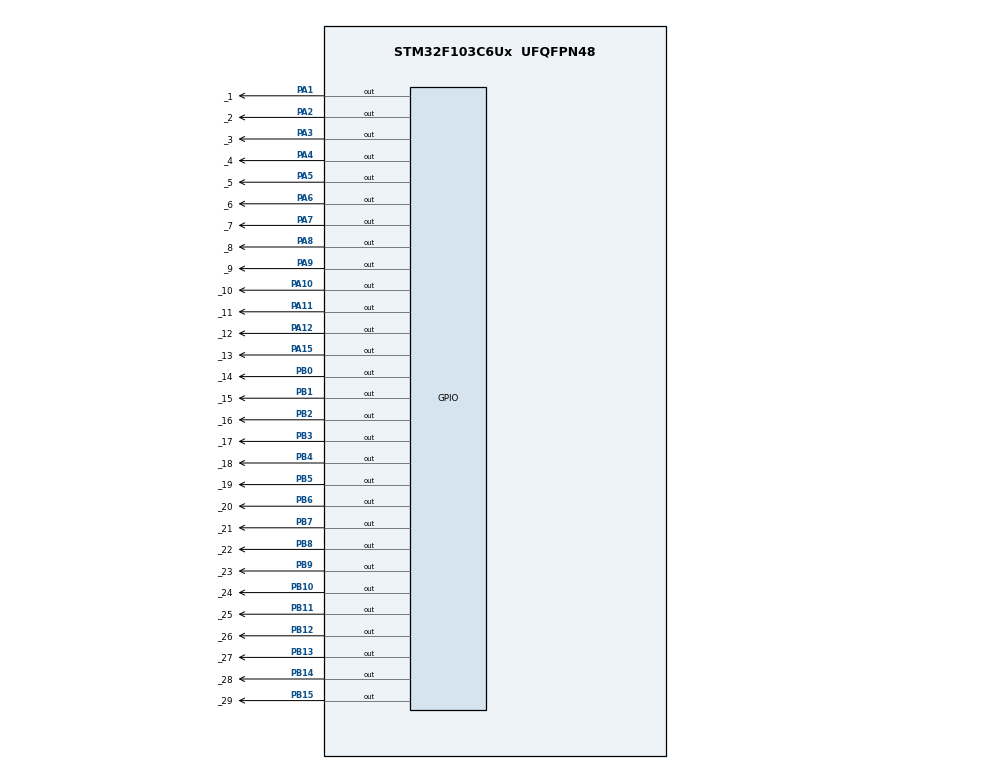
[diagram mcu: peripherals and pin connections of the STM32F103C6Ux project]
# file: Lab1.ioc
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Mcu.Family=STM32F1
Mcu.Name=STM32F103C6Ux
Mcu.Package=UFQFPN48
NVIC.PriorityGroup=NVIC_PRIORITYGROUP_4
PA1.GPIO_Label=_1
PA1.Signal=GPIO_Output
PA10.GPIO_Label=_10
PA10.Signal=GPIO_Output
PA11.GPIO_Label=_11
PA11.Signal=GPIO_Output
PA12.GPIO_Label=_12
PA12.Signal=GPIO_Output
PA13.Mode=Serial_Wire
PA13.Signal=SYS_JTMS-SWDIO
PA14.Mode=Serial_Wire
PA14.Signal=SYS_JTCK-SWCLK
PA15.GPIO_Label=_13
PA15.Signal=GPIO_Output
PA2.GPIO_Label=_2
PA2.Signal=GPIO_Output
PA3.GPIO_Label=_3
PA3.Signal=GPIO_Output
PA4.GPIO_Label=_4
PA4.Signal=GPIO_Output
PA5.GPIO_Label=_5
PA5.Signal=GPIO_Output
PA6.GPIO_Label=_6
PA6.Signal=GPIO_Output
PA7.GPIO_Label=_7
PA7.Signal=GPIO_Output
PA8.GPIO_Label=_8
PA8.Signal=GPIO_Output
PA9.GPIO_Label=_9
PA9.Signal=GPIO_Output
PB0.GPIO_Label=_14
PB0.Signal=GPIO_Output
PB1.GPIO_Label=_15
PB1.Signal=GPIO_Output
PB10.GPIO_Label=_24
PB10.Signal=GPIO_Output
PB11.GPIO_Label=_25
PB11.Signal=GPIO_Output
PB12.GPIO_Label=_26
PB12.Signal=GPIO_Output
PB13.GPIO_Label=_27
PB13.Signal=GPIO_Output
PB14.GPIO_Label=_28
PB14.Signal=GPIO_Output
PB15.GPIO_Label=_29
PB15.Signal=GPIO_Output
PB2.GPIO_Label=_16
PB2.Signal=GPIO_Output
PB3.GPIO_Label=_17
PB3.Signal=GPIO_Output
PB4.GPIO_Label=_18
PB4.Signal=GPIO_Output
PB5.GPIO_Label=_19
PB5.Signal=GPIO_Output
PB6.GPIO_Label=_20
PB6.Signal=GPIO_Output
PB7.GPIO_Label=_21
PB7.Signal=GPIO_Output
PB8.GPIO_Label=_22
PB8.Signal=GPIO_Output
PB9.GPIO_Label=_23
PB9.Signal=GPIO_Output
ProjectManager.HeapSize=0x200
ProjectManager.StackSize=0x400
ProjectManager.TargetToolchain=STM32CubeIDE
RCC.APB1Freq_Value=8000000
RCC.APB2Freq_Value=8000000
board=custom

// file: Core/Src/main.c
/* USER CODE BEGIN Header */
/**
  ******************************************************************************
  * @file           : main.c
  * @brief          : Main program body
  ******************************************************************************
  * @attention
  *
  * Copyright (c) 2025 STMicroelectronics.
  * All rights reserved.
  *
  * This software is licensed under terms that can be found in the LICENSE file
  * in the root directory of this software component.
  * If no LICENSE file comes with this software, it is provided AS-IS.
  *
  ******************************************************************************
  */
/* USER CODE END Header */
#include "main.h"
#include <stdbool.h>

void SystemClock_Config(void);
static void MX_GPIO_Init(void);

/* USER CODE BEGIN 0 */
typedef struct {
	GPIO_TypeDef *port;
	uint16_t pin;
} PINMAP;

const PINMAP pinMap[] = {
	//PA1 to PA12
	{_1_GPIO_Port, _1_Pin},   	// indexPin = 1
    {_2_GPIO_Port, _2_Pin},  	// indexPin = 2
    {_3_GPIO_Port, _3_Pin},  	// indexPin = 3
    {_4_GPIO_Port, _4_Pin},   	// indexPin = 4
    {_5_GPIO_Port, _5_Pin},   	// indexPin = 5
    {_6_GPIO_Port, _6_Pin},   	// indexPin = 6
    {_7_GPIO_Port, _7_Pin},   	// indexPin = 7
    {_8_GPIO_Port, _8_Pin},   	// indexPin = 8
    {_9_GPIO_Port, _9_Pin},   	// indexPin = 9
    {_10_GPIO_Port, _10_Pin},  	// indexPin = 10
    {_11_GPIO_Port, _11_Pin},  	// indexPin = 11
    {_12_GPIO_Port, _12_Pin},  	// indexPin = 12
	//PA13 to PA14 are reserved
	//PA15 for LED-SYS
	{_13_GPIO_Port, _13_Pin},  	// indexPin = 13
	//PB0 to PB15
    {_14_GPIO_Port, _14_Pin},  	// indexPin = 14
    {_15_GPIO_Port, _15_Pin},  	// indexPin = 15
    {_16_GPIO_Port, _16_Pin},  	// indexPin = 16
    {_17_GPIO_Port, _17_Pin},  	// indexPin = 17
    {_18_GPIO_Port, _18_Pin},  	// indexPin = 18
    {_19_GPIO_Port, _19_Pin},  	// indexPin = 19
    {_20_GPIO_Port, _20_Pin},  	// indexPin = 20
    {_21_GPIO_Port, _21_Pin},  	// indexPin = 21
    {_22_GPIO_Port, _22_Pin},  	// indexPin = 22
    {_23_GPIO_Port, _23_Pin},  	// indexPin = 23
    {_24_GPIO_Port, _24_Pin},  	// indexPin = 24
	{_25_GPIO_Port, _25_Pin},  	// indexPin = 25
    {_26_GPIO_Port, _26_Pin},  	// indexPin = 26
    {_27_GPIO_Port, _27_Pin},  	// indexPin = 27
	{_28_GPIO_Port, _27_Pin},  	// indexPin = 28
    {_29_GPIO_Port, _29_Pin},  	// indexPin = 29
};

const uint8_t segMapAnode[10] = {
	//abcdefg
	0b0000001, //0
	0b1001111, //1
	0b0010010, //2
	0b0000110, //3
	0b1001100, //4
	0b0100100, //5
	0b0100000, //6
	0b0001111, //7
	0b0000000, //8
	0b0000100  //9
};

void togglePin(int indexPin, bool state) {
	int idx = indexPin - 1;
	//safety check -> time_1_4 == time_2_5 + time_3_6
	if (idx < 0 || idx >= (sizeof(pinMap) / sizeof(pinMap[0]))) {
		return;
	}
	HAL_GPIO_WritePin(pinMap[idx].port, pinMap[idx].pin, (state) ? GPIO_PIN_SET : GPIO_PIN_RESET);
}

void traffic3_1(int indexPin_1, int indexPin_2, int indexPin_3, int time_1, int time_2, int time_3, int state, int counter) {
	while (1)
	{
		switch (state) {
			case 0: // RED
			togglePin(indexPin_1, 1);
			togglePin(indexPin_2, 0);
			togglePin(indexPin_3, 0);
			break;

			case 1: // YELLOW
			togglePin(indexPin_1, 0);
			togglePin(indexPin_2, 1);
			togglePin(indexPin_3, 0);
			break;

			case 2: // GREEN
			togglePin(indexPin_1, 0);
			togglePin(indexPin_2, 0);
			togglePin(indexPin_3, 1);
			break;

			default: // safety fallback -> all OFF and reset
			togglePin(indexPin_1, 0);
			togglePin(indexPin_2, 0);
			togglePin(indexPin_3, 0);
			state = 0;
			counter = 0;
			break;
		}

		HAL_Delay(1000);
		counter++;

		if (state == 0 && counter >= time_1) {
			state = 1;
			counter = 0;
		} else if (state == 1 && counter >= time_2) {
			state = 2;
			counter = 0;
		} else if (state == 2 && counter >= time_3) {
			state = 0;
			counter = 0;
		}
	}
}

void toggle6Pin(int indexPin_1, int indexPin_2, int indexPin_3, int indexPin_4, int indexPin_5, int indexPin_6,
				bool state_1, bool state_2, bool state_3, bool state_4, bool state_5, bool state_6) {
	togglePin(indexPin_1, state_1);
	togglePin(indexPin_2, state_2);
	togglePin(indexPin_3, state_3);
	togglePin(indexPin_4, state_4);
	togglePin(indexPin_5, state_5);
	togglePin(indexPin_6, state_6);
}

void toggle7Pin(int indexPin_1, int indexPin_2, int indexPin_3, int indexPin_4, int indexPin_5, int indexPin_6, int indexPin_7,
				bool state_1, bool state_2, bool state_3, bool state_4, bool state_5, bool state_6, bool state_7) {
	togglePin(indexPin_1, state_1);
	togglePin(indexPin_2, state_2);
	togglePin(indexPin_3, state_3);
	togglePin(indexPin_4, state_4);
	togglePin(indexPin_5, state_5);
	togglePin(indexPin_6, state_6);
	togglePin(indexPin_7, state_7);
}

void traffic3_4(int indexPin_1, int indexPin_2, int indexPin_3, int indexPin_4, int indexPin_5, int indexPin_6,
				int time_1_4, int time_2_5, int time_3_6,
				int state, int counter) {
	//safety check -> time_1_4 == time_2_5 + time_3_6
	if (time_1_4 != time_2_5 + time_3_6) {
		return;
	}
	while (1)
	{
		switch (state)
		{
			case 0: // RED GREEN
			toggle6Pin(indexPin_1, indexPin_2, indexPin_3, indexPin_4, indexPin_5, indexPin_6, 1, 0, 0, 0, 0, 1);
			break;

			case 1: // RED YELLOW
			toggle6Pin(indexPin_1, indexPin_2, indexPin_3, indexPin_4, indexPin_5, indexPin_6, 1, 0, 0, 0, 1, 0);
			break;

			case 2: // GREEN RED
			toggle6Pin(indexPin_1, indexPin_2, indexPin_3, indexPin_4, indexPin_5, indexPin_6, 0, 0, 1, 1, 0, 0);
			break;

			case 3: // YELLOW RED
			toggle6Pin(indexPin_1, indexPin_2, indexPin_3, indexPin_4, indexPin_5, indexPin_6, 0, 1, 0, 1, 0, 0);
			break;

			default: // safety fallback -> all OFF and reset
			toggle6Pin(indexPin_1, indexPin_2, indexPin_3, indexPin_4, indexPin_5, indexPin_6, 0, 0, 0, 0, 0, 0);
			state = 0;
			counter = 0;
			break;
		}

		HAL_Delay(1000);
		counter++;

		if (state == 0 && counter >= time_3_6) {
			state = 1;
			counter = 0;
		} else if (state == 1 && counter >= time_2_5) {
			state = 2;
			counter = 0;
		} else if (state == 2 && counter >= time_1_4) {
			state = 3;
			counter = 0;
		} else if (state == 3 && counter >= time_2_5) {
			state = 0;
			counter = 0;
		}
	}
}

void seg7Anode_1(int indexPin_1, int indexPin_2, int indexPin_3, int indexPin_4, int indexPin_5, int indexPin_6, int indexPin_7,
				const uint8_t state[10], int num,
				int time) {
	toggle7Pin(indexPin_1, indexPin_2, indexPin_3, indexPin_4, indexPin_5, indexPin_6, indexPin_7, 1, 1, 1, 1, 1, 1, 1);
	togglePin(indexPin_1, state[num] & 0b1000000);
	togglePin(indexPin_2, state[num] & 0b0100000);
	togglePin(indexPin_3, state[num] & 0b0010000);
	togglePin(indexPin_4, state[num] & 0b0001000);
	togglePin(indexPin_5, state[num] & 0b0000100);
	togglePin(indexPin_6, state[num] & 0b0000010);
	togglePin(indexPin_7, state[num] & 0b0000001);
	//HAL_Delay(time*1000);
}

void seg7Anode_2(int indexPin_1, int indexPin_2, int indexPin_3, int indexPin_4, int indexPin_5, int indexPin_6, int indexPin_7,
				const uint8_t state[10], int num,
				int time) {
	toggle7Pin(indexPin_1, indexPin_2, indexPin_3, indexPin_4, indexPin_5, indexPin_6, indexPin_7, 1, 1, 1, 1, 1, 1, 1);
	togglePin(indexPin_1, state[num] & 0b1000000);
	togglePin(indexPin_2, state[num] & 0b0100000);
	togglePin(indexPin_3, state[num] & 0b0010000);
	togglePin(indexPin_4, state[num] & 0b0001000);
	togglePin(indexPin_5, state[num] & 0b0000100);
	togglePin(indexPin_6, state[num] & 0b0000010);
	togglePin(indexPin_7, state[num] & 0b0000001);
	//HAL_Delay(time*1000);
}

void display7SEG(int num) {
	//safety check -> 0 <= num <= 9
	if (num < 0 || num > 9) {
		return;
	}
	seg7Anode_1(14, 15, 16, 17, 18, 19, 20, segMapAnode, num, 1);
	HAL_Delay(1000);
}

void traffic3_7seg_4(int indexPin_1, int indexPin_2, int indexPin_3, int indexPin_4, int indexPin_5, int indexPin_6,
					int indexPin_7, int indexPin_8, int indexPin_9, int indexPin_10, int indexPin_11, int indexPin_12, int indexPin_13,
					int indexPin_14, int indexPin_15, int indexPin_16, int indexPin_17, int indexPin_18, int indexPin_19, int indexPin_20,
					int time_1_4, int time_2_5, int time_3_6,
					int state, int counter) {
	//safety check -> time_1_4 == time_2_5 + time_3_6
	if (time_1_4 != time_2_5 + time_3_6) {
		return;
	}
	bool led_sys = 0;
	while (1)
	{
		if (led_sys == 0) {
			togglePin(13, 1);
			led_sys = 1;
		} else {
			togglePin(13, 0);
			led_sys = 0;
		}
		switch (state)
		{
			case 0: // RED GREEN
			toggle6Pin(indexPin_1, indexPin_2, indexPin_3, indexPin_4, indexPin_5, indexPin_6, 1, 0, 0, 0, 0, 1);
			seg7Anode_1(indexPin_7, indexPin_8, indexPin_9, indexPin_10, indexPin_11, indexPin_12, indexPin_13, segMapAnode, time_1_4 - counter - 1, 1);
			seg7Anode_2(indexPin_14, indexPin_15, indexPin_16, indexPin_17, indexPin_18, indexPin_19, indexPin_20, segMapAnode, time_3_6 - counter - 1 , 1);
			break;

			case 1: // RED YELLOW
			toggle6Pin(indexPin_1, indexPin_2, indexPin_3, indexPin_4, indexPin_5, indexPin_6, 1, 0, 0, 0, 1, 0);
			seg7Anode_1(indexPin_7, indexPin_8, indexPin_9, indexPin_10, indexPin_11, indexPin_12, indexPin_13, segMapAnode, time_2_5 - counter - 1, 1);
			seg7Anode_2(indexPin_14, indexPin_15, indexPin_16, indexPin_17, indexPin_18, indexPin_19, indexPin_20, segMapAnode, time_2_5 - counter - 1, 1);
			break;

			case 2: // GREEN RED
			toggle6Pin(indexPin_1, indexPin_2, indexPin_3, indexPin_4, indexPin_5, indexPin_6, 0, 0, 1, 1, 0, 0);
			seg7Anode_1(indexPin_7, indexPin_8, indexPin_9, indexPin_10, indexPin_11, indexPin_12, indexPin_13, segMapAnode, time_3_6 - counter - 1, 1);
			seg7Anode_2(indexPin_14, indexPin_15, indexPin_16, indexPin_17, indexPin_18, indexPin_19, indexPin_20, segMapAnode, time_1_4 - counter - 1, 1);
			break;

			case 3: // YELLOW RED
			toggle6Pin(indexPin_1, indexPin_2, indexPin_3, indexPin_4, indexPin_5, indexPin_6, 0, 1, 0, 1, 0, 0);
			seg7Anode_1(indexPin_7, indexPin_8, indexPin_9, indexPin_10, indexPin_11, indexPin_12, indexPin_13, segMapAnode, time_2_5 - counter - 1, 1);
			seg7Anode_2(indexPin_14, indexPin_15, indexPin_16, indexPin_17, indexPin_18, indexPin_19, indexPin_20, segMapAnode, time_2_5 - counter - 1, 1);
			break;

			default: // safety fallback -> all OFF and reset
			toggle6Pin(indexPin_1, indexPin_2, indexPin_3, indexPin_4, indexPin_5, indexPin_6, 0, 0, 0, 0, 0, 0);
			seg7Anode_1(indexPin_7, indexPin_8, indexPin_9, indexPin_10, indexPin_11, indexPin_12, indexPin_13, segMapAnode, 0, 1);
			seg7Anode_2(indexPin_14, indexPin_15, indexPin_16, indexPin_17, indexPin_18, indexPin_19, indexPin_20, segMapAnode, 0, 1);
			state = 0;
			counter = 0;
			break;
		}

		HAL_Delay(1000);
		counter++;

		if (state == 0 && counter >= time_3_6) {
			state = 1;
			counter = 0;
		} else if (state == 1 && counter >= time_2_5) {
			state = 2;
			counter = 0;
		} else if (state == 2 && counter >= time_3_6) {
			state = 3;
			counter = 0;
		} else if (state == 3 && counter >= time_2_5) {
			state = 0;
			counter = 0;
		}
	}
}

void seqClk() {
	int pinMapClk[12] = {
		12, 1, 2, 3, 4, 5, 6, 7, 8, 9 ,10, 11
	};
	bool led_sys = 0;
	for (int i = 0; i <= 11; i++) {
		if (led_sys == 0) {
			togglePin(13, 1);
			led_sys = 1;
		} else {
			togglePin(13, 0);
			led_sys = 0;
		}
		for (int j = 0; j <= 11; j++) {
			togglePin(pinMapClk[j], 0);
		}
		togglePin(pinMapClk[i], 1);
		//Uncomment the line below to test clearAllClock() function
		//if (i == 6 || i == 2 || i == 10) clearAllClock();
		HAL_Delay(1000);
	}
}

void clearAllClock() {
	int pinMapClk[12] = {
		12, 1, 2, 3, 4, 5, 6, 7, 8, 9 ,10, 11
	};
	for (int i = 0; i <= 11; i++) {
		togglePin(pinMapClk[i], 0);
	}
}

void setNumberOnClock(int num) {
	int pinMapClk[12] = {
		12, 1, 2, 3, 4, 5, 6, 7, 8, 9 ,10, 11
	};
	togglePin(pinMapClk[num], 1);
}

void clearNumberOnClock(int num) {
	int pinMapClk[12] = {
		12, 1, 2, 3, 4, 5, 6, 7, 8, 9 ,10, 11
	};
	togglePin(pinMapClk[num], 0);
}

void runClk(int speedFactor, int time) {
    int sec = 0;
    int min = 0;
    int hour = 0;
	bool led_sys = 0;

    while (1) {
		led_sys = !led_sys;
		togglePin(13, led_sys);

		clearAllClock();

		setNumberOnClock(sec / 5);
		setNumberOnClock(min / 5);
		setNumberOnClock(hour % 12);

		HAL_Delay(time*1000);
		sec += speedFactor;

		while (sec >= 60) {
			sec -= 60;
			min++;
			if (min >= 60) {
				min = 0;
				hour++;
				if (hour >= 12) {
					hour = 0;
				}
			}
		}
	}
}

/* USER CODE END 0 */

int main(void)
{

  /* MCU Configuration--------------------------------------------------------*/

  /* Reset of all peripherals, Initializes the Flash interface and the Systick. */
  HAL_Init();

  /* Configure the system clock */
  SystemClock_Config();

  /* Initialize all configured peripherals */
  MX_GPIO_Init();

  /* Infinite loop */
  /* USER CODE BEGIN WHILE */
  int status = 0;
  int counter = 0;
  bool led_sys = 0;
  while (1)
  {
	//Sample
	/*
	if (status == 0) {
		togglePin(1, 1);
		status = 1;
	} else {
		togglePin(1, 0);
		status = 0;
	}
	HAL_Delay(1000);
	*/
	//Ex1
	/*
	if (status == 0) {
		togglePin(1, 1);
		togglePin(2, 0);
		status = 1;
	} else {
		togglePin(1, 0);
		togglePin(2, 1);
		status = 0;
	}
	HAL_Delay(1000);
	*/
	//Ex2
	/*
	traffic3_1(1, 2, 3, 5, 2, 3, status, counter);
	*/
	//Ex3
	/*
	traffic3_4(1, 2, 3, 4, 5, 6, 5, 2, 3, status, counter);
	*/
	//Ex4
	/*
	if (counter >= 10) {
		counter = 0;
	}
	display7SEG(counter++);
	*/
	//Ex5
	/*
	traffic3_7seg_4(1, 2 ,3 ,4 ,5, 6, 14, 15, 16, 17, 18, 19, 20, 21, 22, 23, 24, 25, 26, 27, 5, 2, 3, status, counter);
	*/
	//Ex6
	/*
	seqClk();
	*/
	//Ex7
	/*
	if (led_sys == 0) {
		togglePin(13, 1);
		led_sys = 1;
	} else {
		togglePin(13, 0);
		led_sys = 0;
	}
	clearAllClock();
	HAL_Delay(1000);
	*/
	//Ex8
	/*
	if (led_sys == 0) {
		togglePin(13, 1);
		led_sys = 1;
	} else {
		togglePin(13, 0);
		led_sys = 0;
	}
	setNumberOnClock(0);
	setNumberOnClock(2);
	setNumberOnClock(5);
	HAL_Delay(1000);
	*/
	//Ex9
	/*
	if (led_sys == 0) {
		togglePin(13, 1);
		led_sys = 1;
	} else {
		togglePin(13, 0);
		led_sys = 0;
	}
	setNumberOnClock(0);
	setNumberOnClock(2);
	setNumberOnClock(5);
	clearNumberOnClock(0);
	clearNumberOnClock(10);
	HAL_Delay(1000);
	*/
	//Ex10
	///*
	//Adjust clock speed by changing parameters. Format: speedFactor (x1 or x2), timePerSec = 1 (sec)
	runClk(1, 1);
	//*/
    /* USER CODE END WHILE */

  }
}

void SystemClock_Config(void)
{
  RCC_OscInitTypeDef RCC_OscInitStruct = {0};
  RCC_ClkInitTypeDef RCC_ClkInitStruct = {0};

  /** Initializes the RCC Oscillators according to the specified parameters
  * in the RCC_OscInitTypeDef structure.
  */
  RCC_OscInitStruct.OscillatorType = RCC_OSCILLATORTYPE_HSI;
  RCC_OscInitStruct.HSIState = RCC_HSI_ON;
  RCC_OscInitStruct.HSICalibrationValue = RCC_HSICALIBRATION_DEFAULT;
  RCC_OscInitStruct.PLL.PLLState = RCC_PLL_NONE;
  if (HAL_RCC_OscConfig(&RCC_OscInitStruct) != HAL_OK)
  {
    Error_Handler();
  }

  /** Initializes the CPU, AHB and APB buses clocks
  */
  RCC_ClkInitStruct.ClockType = RCC_CLOCKTYPE_HCLK|RCC_CLOCKTYPE_SYSCLK
                              |RCC_CLOCKTYPE_PCLK1|RCC_CLOCKTYPE_PCLK2;
  RCC_ClkInitStruct.SYSCLKSource = RCC_SYSCLKSOURCE_HSI;
  RCC_ClkInitStruct.AHBCLKDivider = RCC_SYSCLK_DIV1;
  RCC_ClkInitStruct.APB1CLKDivider = RCC_HCLK_DIV1;
  RCC_ClkInitStruct.APB2CLKDivider = RCC_HCLK_DIV1;

  if (HAL_RCC_ClockConfig(&RCC_ClkInitStruct, FLASH_LATENCY_0) != HAL_OK)
  {
    Error_Handler();
  }
}

static void MX_GPIO_Init(void)
{
  GPIO_InitTypeDef GPIO_InitStruct = {0};

  /* GPIO Ports Clock Enable */
  __HAL_RCC_GPIOA_CLK_ENABLE();
  __HAL_RCC_GPIOB_CLK_ENABLE();

  /*Configure GPIO pin Output Level */
  HAL_GPIO_WritePin(GPIOA, _1_Pin|_2_Pin|_3_Pin|_4_Pin
                          |_5_Pin|_6_Pin|_7_Pin|_8_Pin
                          |_9_Pin|_10_Pin|_11_Pin|_12_Pin
                          |_13_Pin, GPIO_PIN_RESET);

  /*Configure GPIO pin Output Level */
  HAL_GPIO_WritePin(GPIOB, _14_Pin|_15_Pin|_16_Pin|_24_Pin
                          |_25_Pin|_26_Pin|_27_Pin|_28_Pin
                          |_29_Pin|_17_Pin|_18_Pin|_19_Pin
                          |_20_Pin|_21_Pin|_22_Pin|_23_Pin, GPIO_PIN_RESET);

  /*Configure GPIO pins : _1_Pin _2_Pin _3_Pin _4_Pin
                           _5_Pin _6_Pin _7_Pin _8_Pin
                           _9_Pin _10_Pin _11_Pin _12_Pin
                           _13_Pin */
  GPIO_InitStruct.Pin = _1_Pin|_2_Pin|_3_Pin|_4_Pin
                          |_5_Pin|_6_Pin|_7_Pin|_8_Pin
                          |_9_Pin|_10_Pin|_11_Pin|_12_Pin
                          |_13_Pin;
  GPIO_InitStruct.Mode = GPIO_MODE_OUTPUT_PP;
  GPIO_InitStruct.Pull = GPIO_NOPULL;
  GPIO_InitStruct.Speed = GPIO_SPEED_FREQ_LOW;
  HAL_GPIO_Init(GPIOA, &GPIO_InitStruct);

  /*Configure GPIO pins : _14_Pin _15_Pin _16_Pin _24_Pin
                           _25_Pin _26_Pin _27_Pin _28_Pin
                           _29_Pin _17_Pin _18_Pin _19_Pin
                           _20_Pin _21_Pin _22_Pin _23_Pin */
  GPIO_InitStruct.Pin = _14_Pin|_15_Pin|_16_Pin|_24_Pin
                          |_25_Pin|_26_Pin|_27_Pin|_28_Pin
                          |_29_Pin|_17_Pin|_18_Pin|_19_Pin
                          |_20_Pin|_21_Pin|_22_Pin|_23_Pin;
  GPIO_InitStruct.Mode = GPIO_MODE_OUTPUT_PP;
  GPIO_InitStruct.Pull = GPIO_NOPULL;
  GPIO_InitStruct.Speed = GPIO_SPEED_FREQ_LOW;
  HAL_GPIO_Init(GPIOB, &GPIO_InitStruct);

}

void Error_Handler(void)
{
  __disable_irq();
  while (1)
  {
  }
}
